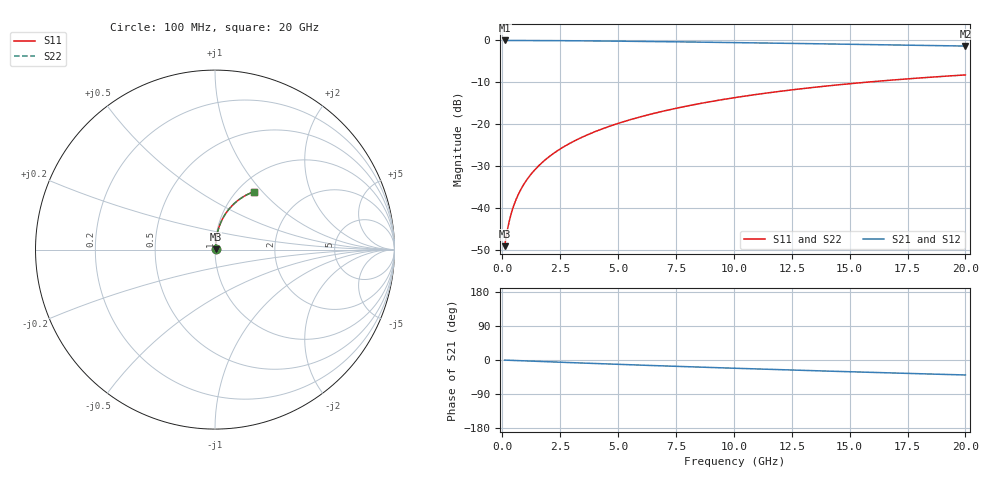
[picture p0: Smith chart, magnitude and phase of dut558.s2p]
! Touchstone file exported from HFSS 2024.1.0
!  File:  C:/UserFiles/LocalFiles/RDL_TSV_Batchsim/temp_RDL_top_558_1779681189.aedt
!  Generated:  11:55:21 AM May 25, 2026
!  Design:  RDL_top
!  Project:  temp_RDL_top_558_1779681189
!  Setup:  Setup1
!  Solution:  Sweep
! Variables:
!  dtsv = 10.80580581um
!  hbump = 3um
!  htsv = 58.44um
!  ldown = 100um
!  lrdl = 552.84um
!  p = 40
!  p1 = 47.64um
!  rhole = 1um
!  t = 450um
!  tdown = 3.915915916um
!  trdl = 4.09um
!  wdown = 15.38538539um
!  wrdl = 18.01um
# GHz S MA R 50.000000
! Terminal data exported
! Port[1] = Box2_T1
! Port[2] = Box2_T2
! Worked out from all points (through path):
!   200 points, 100 MHz to 20 GHz, reference 50 ohm
!   highest |S21| = -0.02 dB at 100 MHz (marker M1); lowest = -1.4 dB at 20 GHz (marker M2)
!   group delay of S21, straight-line fit = 5.46 ps
!   lowest |S11| = -49.0 dB at 100 MHz (marker M3), VSWR 1.01, Z = 50.3 + j0.219 ohm
!   |S11| at or under -10 dB: start of sweep to 15.65 GHz
!   |S22| runs from -49.0 to -8.2 dB; largest |S21 - S12| = 3.3e-15
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0.1  0.003548 37.9  0.9972 -0.2  0.9972 -0.2  0.003548 37.9
! Gamma 0 0 0 0
! Port Impedance 50 0 50 0
0.2  0.005199 55.9  0.9971 -0.5  0.9971 -0.5  0.005199 55.9
0.3  0.007065 64.4  0.9969 -0.7  0.9969 -0.7  0.007065 64.4
0.4  0.008979 69.3  0.9968 -1.0  0.9968 -1.0  0.00898 69.3
0.5  0.01091 72.4  0.9966 -1.2  0.9966 -1.2  0.01091 72.4
0.6  0.01285 74.7  0.9965 -1.4  0.9965 -1.4  0.01285 74.7
0.8  0.01677 77.6  0.9961 -1.9  0.9961 -1.9  0.01677 77.6
1.1  0.0227 80.1  0.9956 -2.6  0.9956 -2.6  0.0227 80.1
1.5  0.03069 81.8  0.9947 -3.5  0.9947 -3.5  0.03069 81.8
1.8  0.03673 82.4  0.9939 -4.2  0.9939 -4.2  0.03673 82.4
2.1  0.0428 82.8  0.993 -4.9  0.993 -4.9  0.0428 82.8
2.7  0.05501 83.0  0.9907 -6.3  0.9907 -6.3  0.05501 83.0
3.5  0.07144 82.8  0.987 -8.1  0.987 -8.1  0.07144 82.8
4.2  0.08594 82.2  0.9833 -9.7  0.9833 -9.7  0.08593 82.2
5  0.1026 81.4  0.9784 -11.4  0.9784 -11.4  0.1026 81.4
5.9  0.1215 80.2  0.9724 -13.4  0.9724 -13.4  0.1215 80.2
6.8  0.1405 79.0  0.966 -15.3  0.966 -15.3  0.1404 79.0
8.4  0.1741 76.4  0.9538 -18.5  0.9538 -18.5  0.1741 76.4
10.1  0.2093 73.5  0.9402 -21.9  0.9402 -21.9  0.2093 73.5
13.4  0.2747 67.6  0.9125 -28.1  0.9125 -28.1  0.2747 67.6
16.7  0.3345 61.8  0.8839 -34.0  0.8839 -34.0  0.3344 61.8
20  0.3877 56.2  0.8551 -39.5  0.8551 -39.5  0.3876 56.2
